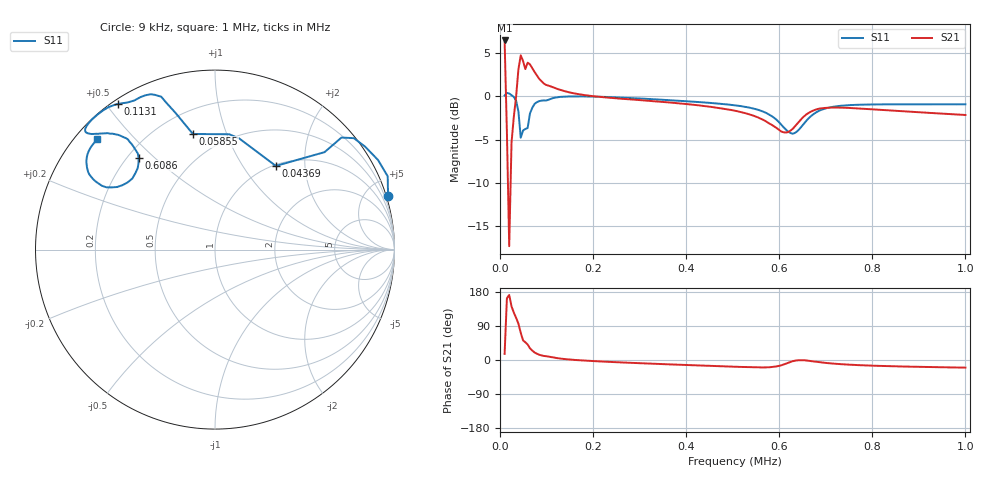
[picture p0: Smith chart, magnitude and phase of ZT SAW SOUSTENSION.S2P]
!Agilent Technologies,E5071C,MY46109397,A.09.54
!Date: Mon Jan 01 02:18:57 2001
!Data & Calibration Information:
!Freq	S11:SOLT1(ON)	S21:RESPT(ON)	S12:NONE(--)	S22:NONE(--)
# Hz S RI R 50
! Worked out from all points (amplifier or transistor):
!   201 points, 9 kHz to 1 MHz, reference 50 ohm
!   highest |S21| = 6.4 dB at 9 kHz (marker M1)
!   |S21| within 3 dB of that: 39.69 kHz to 51.99 kHz (12.3 kHz wide, 26.8 % of centre)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
!   S11 on the Smith chart (normalised r, x): 9 kHz: -0.21, +6.61; 43.69 kHz: 1.02, +1.42; 58.55 kHz: 0.34, +0.77; 113.1 kHz: 0.02, +0.54; 608.6 kHz: 0.24, +0.44; 1 MHz: 0.06, +0.39
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9000  0.9641 0.2985  2.015 0.5819  0 0  0 0
13955  0.9623 0.4084  -0.5899 0.1796  0 0  0 0
18910  0.9082 0.4994  -0.135 0.0199  0 0  0 0
23865  0.8367 0.5732  -0.4211 0.3367  0 0  0 0
33775  0.7046 0.6242  -0.3583 0.9326  0 0  0 0
38730  0.6102 0.5428  -0.1442 1.426  0 0  0 0
43685  0.3389 0.4662  0.5333 1.638  0 0  0 0
48640  0.1345 0.6196  0.9879 1.255  0 0  0 0
53595  0.0792 0.6426  0.9822 1.045  0 0  0 0
58550  -0.1231 0.6441  1.18 1.022  0 0  0 0
63505  -0.2217 0.7637  1.311 0.7824  0 0  0 0
78370  -0.3335 0.8619  1.265 0.3773  0 0  0 0
113055  -0.5406 0.8119  1.118 0.1319  0 0  0 0
177470  -0.6883 0.7222  1.018 -0.0228  0 0  0 0
340985  -0.7048 0.6471  0.9162 -0.1694  0 0  0 0
504500  -0.6047 0.6484  0.7849 -0.2521  0 0  0 0
573870  -0.4965 0.6212  0.6676 -0.2363  0 0  0 0
608555  -0.4258 0.5101  0.6058 -0.131  0 0  0 0
643240  -0.5455 0.3487  0.7189 -0.00631  0 0  0 0
672970  -0.6811 0.3948  0.8253 -0.0542  0 0  0 0
836485  -0.6823 0.5837  0.7955 -0.2325  0 0  0 0
1000000  -0.6547 0.6152  0.732 -0.2678  0 0  0 0
